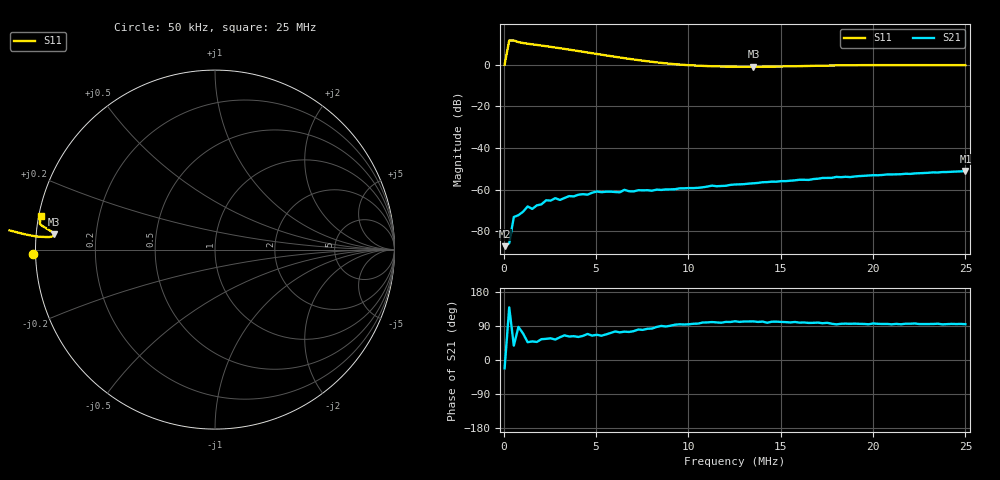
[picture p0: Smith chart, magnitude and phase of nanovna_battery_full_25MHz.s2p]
! NanoVNA-App
! Date: 2025-01-28 12:18:00
! Start: 50kHz Stop: 25MHz Points: 101
! S-Parameter data: F S11 S21 S12 S22
# Hz S RI R 50
!  Frequency  S11_Real  S11_Imag  S21_Real  S21_Imag  S12_Real  S12_Imag  S22_Real  S22_Imag
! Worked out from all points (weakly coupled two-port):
!   101 points, 50 kHz to 25 MHz, reference 50 ohm
!   highest |S21| = -51.06 dB at 25 MHz (marker M1); lowest = -87.2 dB at 50 kHz (marker M2)
!   lowest |S11| = -0.9 dB at 13.52 MHz (marker M3), VSWR 19.14, Z = 2.62 + j2.35 ohm
!   |S11| at or under -10 dB: nowhere
!   S12 and S22 are empty: the file has one direction only
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50000  -1.011 -0.0255  4.06e-05 -1.65e-05  0 0  0 0
299500  -3.862 0.1505  -3.88e-05 3.39e-05  0 0  0 0
549000  -3.488 1.654  0.000174 0.000135  0 0  0 0
798500  -3.078 1.717  1.12e-05 0.000243  0 0  0 0
1297500  -2.812 1.584  0.00027 0.000289  0 0  0 0
1547000  -2.734 1.506  0.000226 0.000261  0 0  0 0
2295500  -2.525 1.238  0.000311 0.000459  0 0  0 0
2794500  -2.39 1.057  0.000367 0.000504  0 0  0 0
3044000  -2.322 0.9689  0.000283 0.00049  0 0  0 0
3543000  -2.185 0.8049  0.000329 0.000618  0 0  0 0
4291500  -1.979 0.5966  0.000347 0.000699  0 0  0 0
5040000  -1.781 0.432  0.000358 0.000829  0 0  0 0
6287500  -1.486 0.246  0.000254 0.000825  0 0  0 0
6537000  -1.435 0.2203  0.000259 0.000957  0 0  0 0
7036000  -1.338 0.1765  0.000218 0.00088  0 0  0 0
8533000  -1.114 0.099  2.13e-06 0.000985  0 0  0 0
1.02795e7  -0.9666 0.0709  -0.000108 0.00109  0 0  0 0
1.2525e7  -0.9005 0.0765  -0.000281 0.0013  0 0  0 0
1.3523e7  -0.8967 0.0848  -0.000292 0.00139  0 0  0 0
1.67665e7  -0.9397 0.1185  -0.000254 0.00178  0 0  0 0
2.1008e7  -0.975 0.1564  -0.000168 0.00232  0 0  0 0
2.5e7  -0.9688 0.1853  -0.00022 0.00279  0 0  0 0
